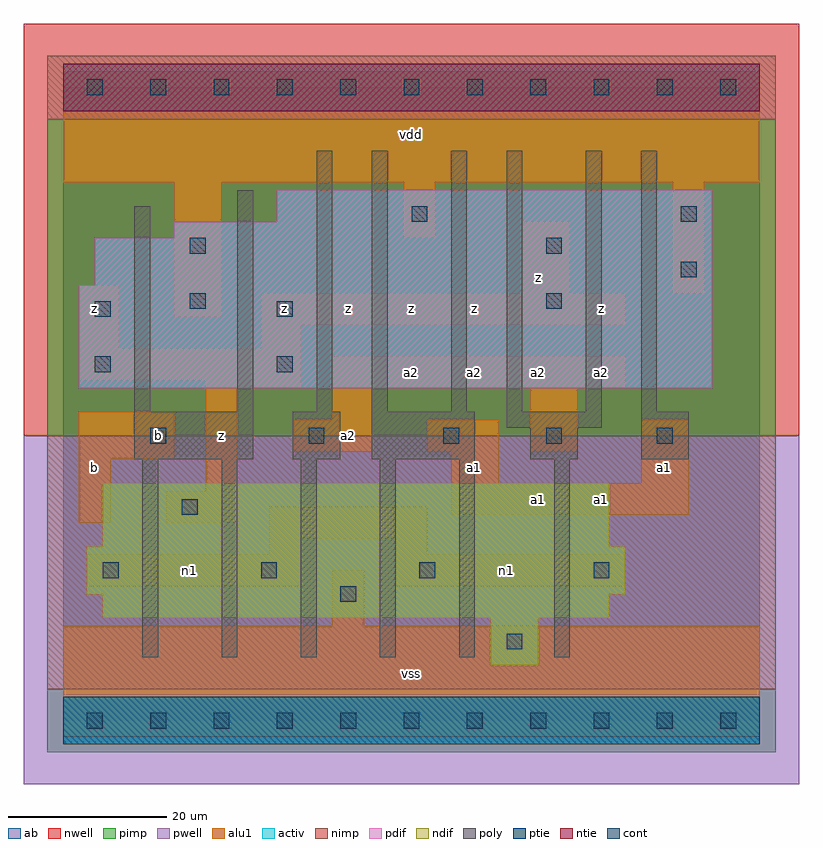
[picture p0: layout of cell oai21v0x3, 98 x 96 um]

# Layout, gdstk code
import gdstk
lib = gdstk.Library(unit=1e-6, precision=1e-09)
def R(c, l, rs):  # rectangles x0, y0, x1, y1
    for r in rs: c.add(gdstk.rectangle(r[:2], r[2:], *l))
def A(c, l, x, y, w, h, nx, ny, dx, dy):  # array of equal rectangles
    R(c, l, [(x+i*dx, y+j*dy, x+i*dx+w, y+j*dy+h) for i in range(nx) for j in range(ny)])
ndif = (3, 0)
pdif = (4, 0)
ntie = (5, 0)
ptie = (6, 0)
cont = (25, 0)
pwell = (41, 0)
nwell = (42, 0)
activ = (43, 0)
pimp = (44, 0)
nimp = (45, 0)
poly = (46, 0)
alu1 = (49, 0)
ab = (63, 0)

oai21v0x3 = lib.new_cell('oai21v0x3')
R(oai21v0x3, ndif, [(54,7,60,13), (5,13,69,16), (3,16,71,22), (5,22,69,30)])
R(oai21v0x3, pdif, [(2,42,82,55), (4,55,82,61), (14,61,82,63), (27,63,82,67)])
R(oai21v0x3, ntie, [(0,77,88,83)])
R(oai21v0x3, ptie, [(0,-3,88,3)])
A(oai21v0x3, cont, 3, -1, 2, 2, 11, 2, 8, 80)
A(oai21v0x3, cont, 5, 18, 2, 2, 3, 1, 20, 0)
R(oai21v0x3, cont, [(56,9,58,11), (35,15,37,17), (67,18,69,20), (15,26,17,28), (11,35,13,37), (31,35,33,37), (48,35,50,37), (61,35,63,37), (75,35,77,37), (4,44,6,46), (27,44,29,46), (4,51,6,53), (27,51,29,53), (16,52,18,54), (61,52,63,54), (78,56,80,58), (16,59,18,61), (61,59,63,61), (44,63,46,65), (78,63,80,65)])
R(oai21v0x3, pwell, [(-5,-8,93,36)])
R(oai21v0x3, nwell, [(-5,36,93,88)])
R(oai21v0x3, activ, [(0,-3,88,3), (54,7,60,13), (5,13,69,16), (3,16,71,22), (5,22,69,30), (2,42,82,55), (4,55,82,61), (14,61,82,63), (27,63,82,67), (0,77,88,83)])
R(oai21v0x3, pimp, [(-2,-4,90,4), (-2,36,90,76)])
R(oai21v0x3, nimp, [(-2,4,90,36), (-2,76,90,84)])
A(oai21v0x3, poly, 10, 8, 2, 25, 5, 1, 10, 0)
R(oai21v0x3, poly, [(62,8,64,33), (9,33,24,39), (29,33,35,39), (39,33,52,39), (59,33,65,37), (73,33,79,39), (56,37,68,39), (9,39,11,65), (22,39,24,67), (32,39,34,72), (39,39,41,72), (49,39,51,72), (56,39,58,72), (66,39,68,72), (73,39,75,72)])
R(oai21v0x3, alu1, [(0,-2,88,12), (34,12,38,19), (3,17,30,21), (42,17,71,21), (26,21,30,23), (42,21,46,23), (26,23,46,27), (2,25,6,33), (13,25,22,29), (49,26,79,30), (18,29,22,42), (49,30,55,34), (73,30,79,38), (2,33,14,39), (29,34,39,38), (46,34,55,38), (59,34,65,42), (34,38,39,42), (18,42,30,43), (34,42,71,46), (2,43,30,47), (2,47,7,55), (25,47,30,50), (25,50,71,54), (14,51,20,68), (58,54,64,63), (77,54,81,68), (43,61,47,68), (0,68,88,82)])
R(oai21v0x3, ab, [(0,0,88,80)])
oai21v0x3.add(gdstk.Label('n1', (16,19), layer=49, texttype=0))
oai21v0x3.add(gdstk.Label('n1', (56,19), layer=49, texttype=0))
oai21v0x3.add(gdstk.Label('b', (12,36), layer=49, texttype=0))
oai21v0x3.add(gdstk.Label('b', (4,32), layer=49, texttype=0))
oai21v0x3.add(gdstk.Label('z', (4,52), layer=49, texttype=0))
oai21v0x3.add(gdstk.Label('z', (20,36), layer=49, texttype=0))
oai21v0x3.add(gdstk.Label('a2', (36,36), layer=49, texttype=0))
oai21v0x3.add(gdstk.Label('z', (36,52), layer=49, texttype=0))
oai21v0x3.add(gdstk.Label('z', (28,52), layer=49, texttype=0))
oai21v0x3.add(gdstk.Label('vss', (44,6), layer=49, texttype=0))
oai21v0x3.add(gdstk.Label('a1', (52,32), layer=49, texttype=0))
oai21v0x3.add(gdstk.Label('a1', (60,28), layer=49, texttype=0))
oai21v0x3.add(gdstk.Label('a2', (52,44), layer=49, texttype=0))
oai21v0x3.add(gdstk.Label('a2', (60,44), layer=49, texttype=0))
oai21v0x3.add(gdstk.Label('a2', (44,44), layer=49, texttype=0))
oai21v0x3.add(gdstk.Label('z', (44,52), layer=49, texttype=0))
oai21v0x3.add(gdstk.Label('z', (52,52), layer=49, texttype=0))
oai21v0x3.add(gdstk.Label('z', (60,56), layer=49, texttype=0))
oai21v0x3.add(gdstk.Label('vdd', (44,74), layer=49, texttype=0))
oai21v0x3.add(gdstk.Label('a1', (68,28), layer=49, texttype=0))
oai21v0x3.add(gdstk.Label('a1', (76,32), layer=49, texttype=0))
oai21v0x3.add(gdstk.Label('a2', (68,44), layer=49, texttype=0))
oai21v0x3.add(gdstk.Label('z', (68,52), layer=49, texttype=0))

lib.write_gds('oai21v0x3.gds')
